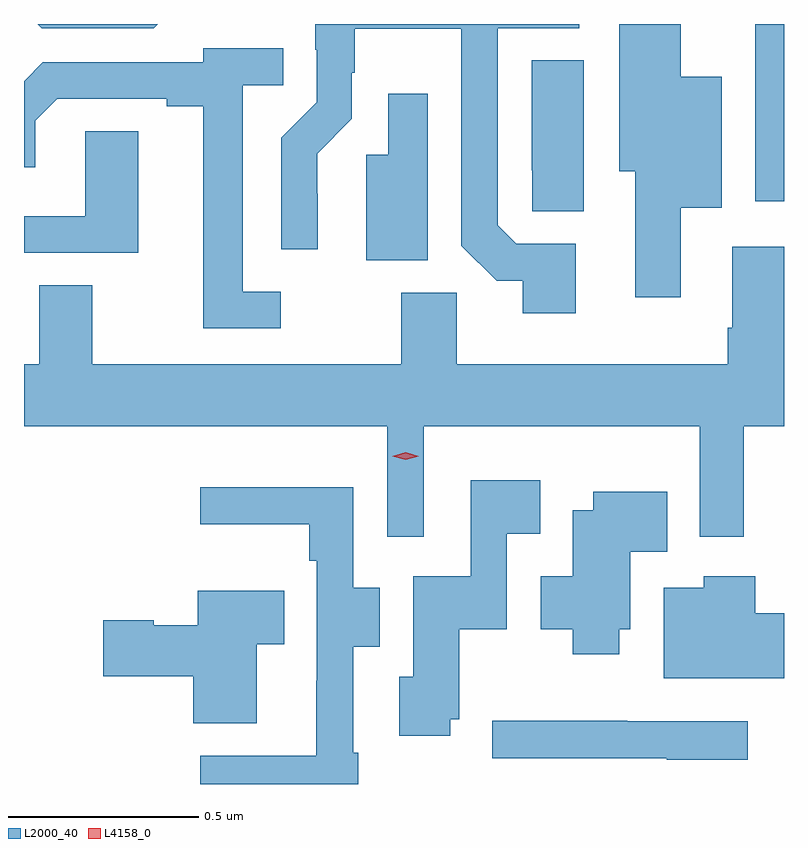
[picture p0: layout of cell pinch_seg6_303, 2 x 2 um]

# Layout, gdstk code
import gdstk
lib = gdstk.Library(unit=1e-6, precision=1e-09)
def R(c, l, rs):  # rectangles x0, y0, x1, y1
    for r in rs: c.add(gdstk.rectangle(r[:2], r[2:], *l))
def P(c, l, *ps):  # polygons
    for p in ps: c.add(gdstk.Polygon(p, *l))
L2000_40 = (2000, 40)
L4158_0 = (4158, 0)

pinch_seg6_303 = lib.new_cell('pinch_seg6_303')
R(pinch_seg6_303, L2000_40, [(856.583,966.576,856.659,967.043)])
P(pinch_seg6_303, L2000_40, [(856.387,966.56),(856.495,966.56),(856.495,966.904),(856.387,966.904),(856.387,967.043),(856.226,967.043),(856.226,966.656),(856.268,966.656),(856.268,966.324),(856.387,966.324)],
  [(855.011,967.043),(854.695,967.043),(854.706,967.032),(855,967.032)],
  [(856.111,966.465),(855.954,966.465),(855.906,966.513),(855.906,967.032),(856.12,967.032),(856.12,967.043),(855.426,967.043),(855.426,966.975),(855.429,966.975),(855.429,966.837),(855.336,966.744),(855.336,966.45),(855.432,966.45),(855.432,966.596),(855.431,966.596),(855.431,966.702),(855.522,966.794),(855.522,966.915),(855.53,966.915),(855.53,967.031),(855.81,967.031),(855.81,966.459),(855.903,966.367),(855.971,966.367),(855.971,966.282),(856.111,966.282)],
  [(855.334,966.339),(855.235,966.339),(855.235,966.882),(855.341,966.882),(855.341,966.979),(855.131,966.979),(855.131,966.942),(854.708,966.942),(854.659,966.893),(854.659,966.666),(854.688,966.666),(854.688,966.788),(854.746,966.846),(855.035,966.846),(855.035,966.826),(855.131,966.826),(855.131,966.243),(855.334,966.243)],
  [(856.132,966.947),(855.995,966.947),(855.995,966.658),(855.996,966.658),(855.996,966.55),(856.132,966.55)],
  [(855.721,966.859),(855.617,966.859),(855.617,966.699),(855.56,966.699),(855.56,966.421),(855.721,966.421)],
  [(854.959,966.761),(854.82,966.761),(854.82,966.537),(854.659,966.537),(854.659,966.441),(854.959,966.441)],
  [(855.711,965.984),(856.437,965.984),(856.437,965.694),(856.553,965.694),(856.553,965.984),(856.659,965.984),(856.659,966.457),(856.523,966.457),(856.523,966.244),(856.511,966.244),(856.511,966.148),(855.798,966.148),(855.798,966.336),(855.652,966.336),(855.652,966.148),(854.839,966.148),(854.839,966.356),(854.699,966.356),(854.699,966.148),(854.659,966.148),(854.659,965.984),(855.615,965.984),(855.615,965.694),(855.711,965.694)],
  [(855.781,965.214),(855.805,965.214),(855.805,965.45),(855.93,965.45),(855.93,965.702),(856.018,965.702),(856.018,965.842),(855.834,965.842),(855.834,965.59),(855.683,965.59),(855.683,965.325),(855.647,965.325),(855.647,965.17),(855.781,965.17)],
  [(855.538,965.125),(855.525,965.125),(855.525,965.404),(855.595,965.404),(855.595,965.559),(855.525,965.559),(855.525,965.824),(855.123,965.824),(855.123,965.726),(855.409,965.726),(855.409,965.63),(855.429,965.63),(855.429,965.315),(855.428,965.315),(855.428,965.118),(855.123,965.118),(855.123,965.043),(855.538,965.043)],
  [(856.225,965.45),(856.255,965.45),(856.255,965.654),(856.352,965.654),(856.352,965.812),(856.157,965.812),(856.157,965.764),(856.103,965.764),(856.103,965.59),(856.019,965.59),(856.019,965.45),(856.103,965.45),(856.103,965.384),(856.225,965.384)],
  [(856.659,965.492),(856.583,965.492),(856.583,965.59),(856.448,965.59),(856.448,965.56),(856.343,965.56),(856.343,965.321),(856.659,965.321)],
  [(855.271,965.411),(855.344,965.411),(855.344,965.551),(855.116,965.551),(855.116,965.461),(855,965.461),(855,965.474),(854.868,965.474),(854.868,965.327),(855.104,965.327),(855.104,965.203),(855.271,965.203)],
  [(856.564,965.208),(856.247,965.208),(856.247,965.209),(855.891,965.209),(855.891,965.111),(856.351,965.111),(856.351,965.107),(856.564,965.107)])
P(pinch_seg6_303, L4158_0, [(855.663,965.896),(855.628,965.906),(855.628,965.906),(855.628,965.906),(855.663,965.916),(855.698,965.906),(855.698,965.906),(855.698,965.906)])

lib.write_gds('pinch_seg6_303.gds')
